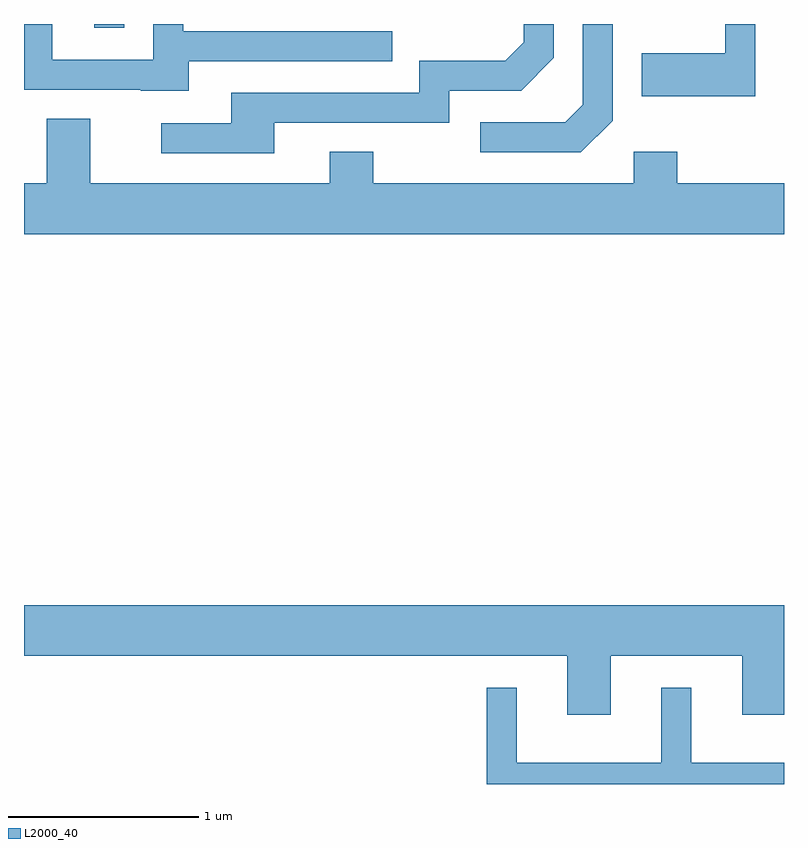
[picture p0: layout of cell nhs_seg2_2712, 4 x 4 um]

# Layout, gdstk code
import gdstk
lib = gdstk.Library(unit=1e-6, precision=1e-09)
def R(c, l, rs):  # rectangles x0, y0, x1, y1
    for r in rs: c.add(gdstk.rectangle(r[:2], r[2:], *l))
def P(c, l, *ps):  # polygons
    for p in ps: c.add(gdstk.Polygon(p, *l))
L2000_40 = (2000, 40)

nhs_seg2_2712 = lib.new_cell('nhs_seg2_2712')
R(nhs_seg2_2712, L2000_40, [(263.981,1113.783,264.139,1113.802)])
P(nhs_seg2_2712, L2000_40, [(266.709,1113.294),(266.709,1113.802),(266.551,1113.802),(266.551,1113.377),(266.459,1113.284),(266.013,1113.284),(266.013,1113.126),(266.542,1113.126)],
  [(267.459,1113.802),(267.301,1113.802),(267.301,1113.649),(266.861,1113.649),(266.861,1113.421),(267.459,1113.421)],
  [(264.929,1113.281),(265.849,1113.281),(265.849,1113.451),(266.227,1113.451),(266.399,1113.624),(266.399,1113.802),(266.241,1113.802),(266.241,1113.707),(266.144,1113.609),(265.691,1113.609),(265.691,1113.439),(264.701,1113.439),(264.701,1113.279),(264.333,1113.279),(264.333,1113.121),(264.929,1113.121)],
  [(264.479,1113.606),(265.548,1113.606),(265.548,1113.764),(264.449,1113.764),(264.449,1113.802),(264.291,1113.802),(264.291,1113.614),(263.759,1113.614),(263.759,1113.802),(263.611,1113.802),(263.611,1113.456),(264.225,1113.456),(264.225,1113.451),(264.479,1113.451)],
  [(267.611,1112.964),(267.049,1112.964),(267.049,1113.129),(266.821,1113.129),(266.821,1112.964),(265.449,1112.964),(265.449,1113.129),(265.221,1113.129),(265.221,1112.964),(263.959,1112.964),(263.959,1113.304),(263.731,1113.304),(263.731,1112.964),(263.611,1112.964),(263.611,1112.696),(267.611,1112.696)],
  [(266.699,1110.476),(267.391,1110.476),(267.391,1110.166),(267.611,1110.166),(267.611,1110.744),(263.611,1110.744),(263.611,1110.476),(266.471,1110.476),(266.471,1110.166),(266.699,1110.166)],
  [(267.611,1109.914),(267.124,1109.914),(267.124,1110.308),(266.966,1110.308),(266.966,1109.914),(266.204,1109.914),(266.204,1110.308),(266.046,1110.308),(266.046,1109.802),(267.611,1109.802)])

lib.write_gds('nhs_seg2_2712.gds')
